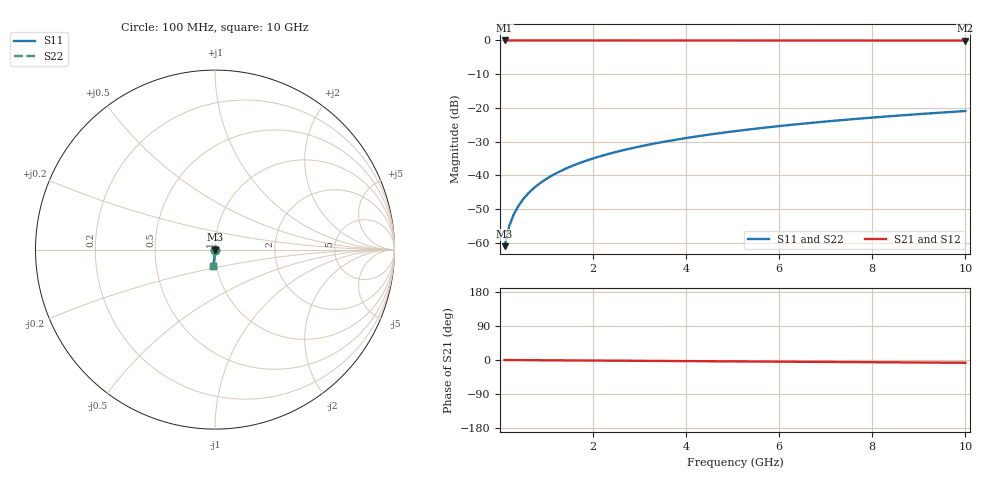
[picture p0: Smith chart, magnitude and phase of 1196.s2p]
# Hz S RI R 50.00
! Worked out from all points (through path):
!   100 points, 100 MHz to 10 GHz, reference 50 ohm
!   highest |S21| = 0.00 dB at 100 MHz (marker M1); lowest = 0.0 dB at 10 GHz (marker M2)
!   group delay of S21, straight-line fit = 2.04 ps
!   lowest |S11| = -61.1 dB at 100 MHz (marker M3), VSWR 1.00, Z = 50 - j0.0884 ohm
!   |S11| at or under -10 dB: start of sweep to end of sweep
!   |S22| runs from -61.1 to -20.9 dB; largest |S21 - S12| = 0
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1e8  4.55e-05 -0.000884  0.9999 -0.00126  0.9999 -0.00126  4.55e-05 -0.000884
2e8  4.15e-05 -0.00177  0.9999 -0.00251  0.9999 -0.00251  4.15e-05 -0.00177
3e8  3.51e-05 -0.00265  0.9999 -0.00377  0.9999 -0.00377  3.51e-05 -0.00265
4e8  2.65e-05 -0.00354  0.9999 -0.00503  0.9999 -0.00503  2.65e-05 -0.00354
5e8  1.56e-05 -0.00442  0.9999 -0.00629  0.9999 -0.00629  1.56e-05 -0.00442
6e8  2.45e-06 -0.00531  0.9999 -0.00755  0.9999 -0.00755  2.45e-06 -0.00531
7e8  -1.29e-05 -0.00619  0.9999 -0.0088  0.9999 -0.0088  -1.29e-05 -0.00619
8e8  -3.06e-05 -0.00708  0.9999 -0.0101  0.9999 -0.0101  -3.06e-05 -0.00708
9e8  -5.04e-05 -0.00796  0.9998 -0.0113  0.9998 -0.0113  -5.04e-05 -0.00796
1.1e9  -9.69e-05 -0.00974  0.9998 -0.0138  0.9998 -0.0138  -9.69e-05 -0.00974
1.4e9  -0.000183 -0.0124  0.9997 -0.0176  0.9997 -0.0176  -0.000183 -0.0124
1.8e9  -0.000331 -0.016  0.9995 -0.0227  0.9995 -0.0227  -0.000331 -0.016
2.1e9  -0.000465 -0.0186  0.9994 -0.0265  0.9994 -0.0265  -0.000465 -0.0186
2.5e9  -0.000675 -0.0222  0.9992 -0.0315  0.9992 -0.0315  -0.000675 -0.0222
2.9e9  -0.000922 -0.0257  0.9989 -0.0366  0.9989 -0.0366  -0.000922 -0.0257
3.4e9  -0.00128 -0.0302  0.9985 -0.0429  0.9985 -0.0429  -0.00128 -0.0302
4.2e9  -0.00198 -0.0374  0.9978 -0.0531  0.9978 -0.0531  -0.00198 -0.0374
5.1e9  -0.00294 -0.0454  0.9968 -0.0646  0.9968 -0.0646  -0.00294 -0.0454
5.9e9  -0.00396 -0.0526  0.9957 -0.0748  0.9957 -0.0748  -0.00396 -0.0526
6.7e9  -0.00512 -0.0597  0.9945 -0.085  0.9945 -0.085  -0.00512 -0.0597
8.4e9  -0.00809 -0.0748  0.9913 -0.1067  0.9913 -0.1067  -0.00809 -0.0748
1e10  -0.0115 -0.0889  0.9877 -0.1271  0.9877 -0.1271  -0.0115 -0.0889
